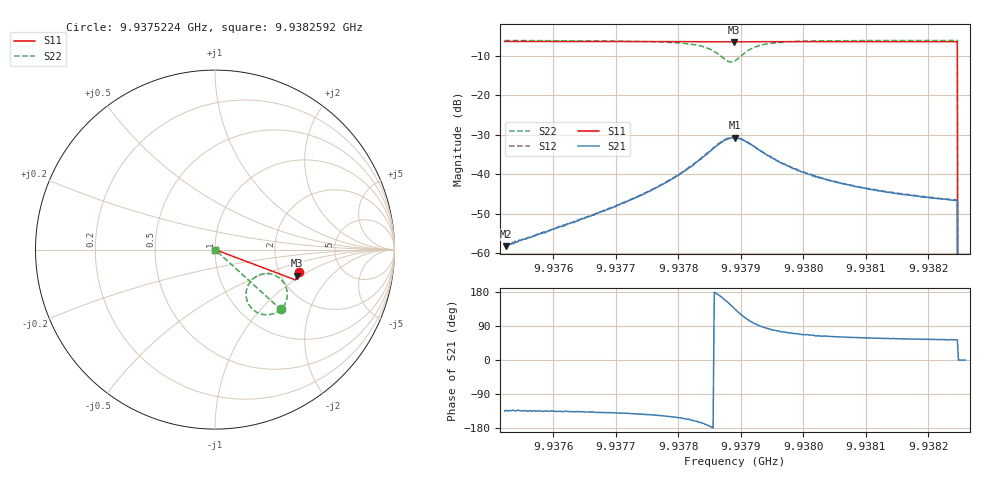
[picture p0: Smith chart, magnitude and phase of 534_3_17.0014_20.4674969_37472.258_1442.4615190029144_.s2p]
#  HZ  S  RI  R  50.00
! Rohde & Schwarz Vector Network Analyzer
! Rohde-Schwarz,ZNB20-2Port,1311601062101988,3.16
! Created: UTC 3/20/2024, 11:16:02 PM
! freq[Hz]  re:S11  im:S11  re:S21  im:S21  re:S12  im:S12  re:S22  im:S22
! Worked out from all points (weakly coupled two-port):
!   401 points, 9.9375224 GHz to 9.9382592 GHz, reference 50 ohm
!   highest |S21| = -30.69 dB at 9.9378908 GHz (marker M1); lowest = -58.2 dB at 9.9375242 GHz (marker M2)
!   lowest |S11| = -6.4 dB at 9.9378889 GHz (marker M3), VSWR 2.83, Z = 121 - j45.6 ohm
!   |S11| at or under -10 dB: 9.9382464 GHz to end of sweep
!   |S22| runs from - to -6.1 dB; largest |S21 - S12| = 0.0013
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9.93752236e9  0.4666 -0.123  -0.000885 -0.000899  -0.000854 -0.000881  0.3689 -0.332
9.9375242e9  0.4667 -0.1231  -0.00083 -0.000899  -0.000881 -0.000931  0.3685 -0.3321
9.93764578e9  0.4637 -0.1313  -0.00199 -0.00188  -0.00203 -0.00182  0.3527 -0.3439
9.93770289e9  0.4623 -0.1352  -0.00308 -0.0026  -0.00315 -0.00259  0.3402 -0.351
9.93776921e9  0.4605 -0.1397  -0.00585 -0.00386  -0.00598 -0.00386  0.313 -0.3607
9.93780605e9  0.4593 -0.1421  -0.00934 -0.00462  -0.00964 -0.00453  0.2819 -0.3631
9.93784473e9  0.4573 -0.1448  -0.0175 -0.00296  -0.0181 -0.00273  0.2176 -0.3393
9.93785763e9  0.4564 -0.1452  -0.0218 0.0005  -0.0221 0.000939  0.189 -0.3074
9.93787052e9  0.4555 -0.1454  -0.0248 0.00694  -0.0252 0.00775  0.1732 -0.2504
9.93788158e9  0.4551 -0.1451  -0.0243 0.0148  -0.0242 0.0159  0.1899 -0.1889
9.93788895e9  0.4551 -0.1449  -0.0213 0.0197  -0.0211 0.0209  0.2216 -0.1547
9.93789079e9  0.4553 -0.145  -0.0203 0.021  -0.0199 0.0218  0.2313 -0.1486
9.9379e9  0.4555 -0.1451  -0.0142 0.0241  -0.0136 0.0247  0.2838 -0.1335
9.93791289e9  0.4563 -0.1456  -0.00622 0.0238  -0.00562 0.0243  0.3445 -0.1486
9.93793316e9  0.4567 -0.1474  0.000581 0.0194  0.00116 0.0195  0.3898 -0.1953
9.93797553e9  0.456 -0.1508  0.0041 0.0121  0.0042 0.0121  0.4027 -0.2589
9.93801421e9  0.4554 -0.1536  0.00392 0.00873  0.00421 0.0089  0.397 -0.2864
9.93806395e9  0.4539 -0.1573  0.00372 0.00657  0.00387 0.00659  0.3887 -0.3054
9.93813764e9  0.452 -0.1621  0.00325 0.00491  0.00335 0.00492  0.3786 -0.3211
9.93824264e9  0.449 -0.1689  0.00279 0.00373  0.00292 0.00375  0.3681 -0.3342
9.93825185e9  0 0  0 0  0 0  0 0
9.93825922e9  0 0  0 0  0 0  0 0
